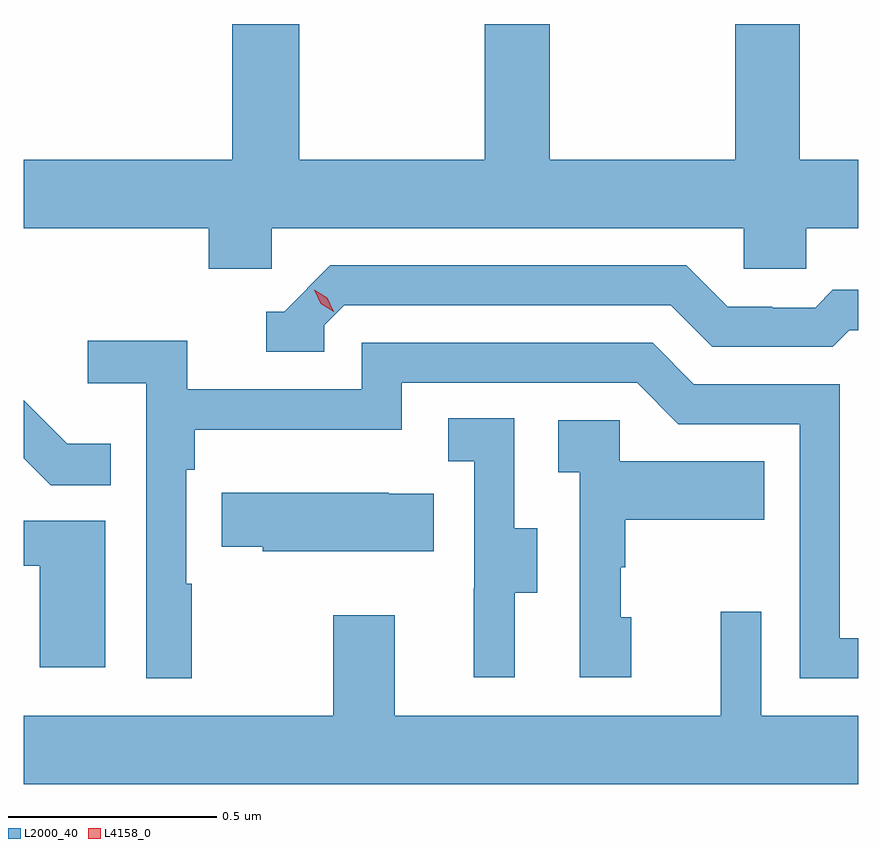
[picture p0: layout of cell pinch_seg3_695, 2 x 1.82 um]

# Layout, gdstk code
import gdstk
lib = gdstk.Library(unit=1e-6, precision=1e-09)
def P(c, l, *ps):  # polygons
    for p in ps: c.add(gdstk.Polygon(p, *l))
L2000_40 = (2000, 40)
L4158_0 = (4158, 0)

pinch_seg3_695 = lib.new_cell('pinch_seg3_695')
P(pinch_seg3_695, L2000_40, [(1142.922,674.276),(1144.053,674.276),(1144.053,674.178),(1144.203,674.178),(1144.203,674.276),(1144.328,674.276),(1144.328,674.44),(1144.188,674.44),(1144.188,674.765),(1144.033,674.765),(1144.033,674.44),(1143.588,674.44),(1143.588,674.765),(1143.433,674.765),(1143.433,674.44),(1142.988,674.44),(1142.988,674.765),(1142.828,674.765),(1142.828,674.44),(1142.328,674.44),(1142.328,674.276),(1142.771,674.276),(1142.771,674.178),(1142.922,674.178)],
  [(1143.048,674.043),(1143.096,674.091),(1143.879,674.091),(1143.978,673.992),(1144.267,673.992),(1144.306,674.031),(1144.328,674.031),(1144.328,674.128),(1144.267,674.128),(1144.225,674.085),(1144.122,674.085),(1144.122,674.088),(1144.015,674.088),(1143.916,674.187),(1143.063,674.187),(1142.952,674.076),(1142.909,674.076),(1142.909,673.98),(1143.048,673.98)],
  [(1142.731,673.424),(1142.718,673.424),(1142.718,673.697),(1142.738,673.697),(1142.738,673.793),(1143.234,673.793),(1143.234,673.905),(1143.798,673.905),(1143.897,673.806),(1144.188,673.806),(1144.188,673.197),(1144.328,673.197),(1144.328,673.293),(1144.284,673.293),(1144.284,673.902),(1143.934,673.902),(1143.835,674.001),(1143.138,674.001),(1143.138,673.89),(1142.72,673.89),(1142.72,674.006),(1142.481,674.006),(1142.481,673.904),(1142.622,673.904),(1142.622,673.197),(1142.731,673.197)],
  [(1142.537,673.759),(1142.433,673.759),(1142.328,673.864),(1142.328,673.725),(1142.393,673.66),(1142.537,673.66)],
  [(1143.505,673.402),(1143.559,673.402),(1143.559,673.557),(1143.504,673.557),(1143.504,673.82),(1143.345,673.82),(1143.345,673.717),(1143.408,673.717),(1143.408,673.413),(1143.407,673.413),(1143.407,673.2),(1143.505,673.2)],
  [(1143.784,673.344),(1143.759,673.344),(1143.759,673.463),(1143.769,673.463),(1143.769,673.577),(1144.103,673.577),(1144.103,673.717),(1143.756,673.717),(1143.756,673.815),(1143.609,673.815),(1143.609,673.691),(1143.66,673.691),(1143.66,673.2),(1143.784,673.2)],
  [(1143.311,673.639),(1143.203,673.639),(1143.203,673.642),(1142.803,673.642),(1142.803,673.513),(1142.901,673.513),(1142.901,673.502),(1143.311,673.502)],
  [(1142.524,673.575),(1142.328,673.575),(1142.328,673.467),(1142.366,673.467),(1142.366,673.224),(1142.524,673.224)],
  [(1144.328,673.108),(1144.095,673.108),(1144.095,673.357),(1143.998,673.357),(1143.998,673.108),(1143.217,673.108),(1143.217,673.348),(1143.07,673.348),(1143.07,673.108),(1142.328,673.108),(1142.328,672.944),(1144.328,672.944)])
P(pinch_seg3_695, L4158_0, [(1143.071,674.076),(1143.04,674.095),(1143.024,674.128),(1143.024,674.128),(1143.024,674.128),(1143.055,674.109),(1143.071,674.076),(1143.071,674.076)])

lib.write_gds('pinch_seg3_695.gds')
